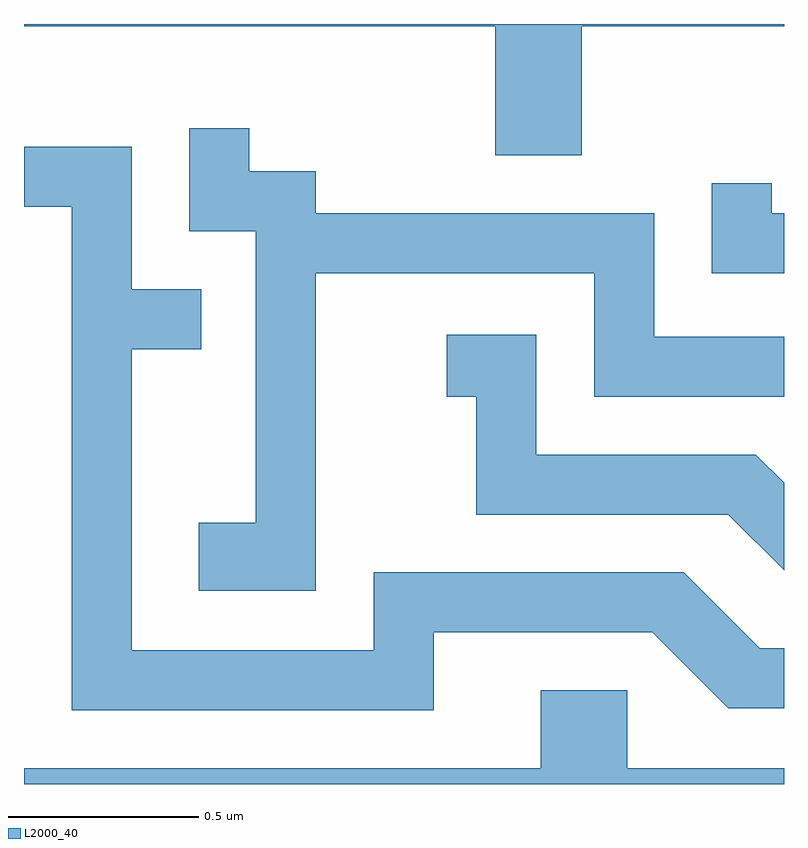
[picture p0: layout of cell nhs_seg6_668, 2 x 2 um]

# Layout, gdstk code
import gdstk
lib = gdstk.Library(unit=1e-6, precision=1e-09)
def P(c, l, *ps):  # polygons
    for p in ps: c.add(gdstk.Polygon(p, *l))
L2000_40 = (2000, 40)

nhs_seg6_668 = lib.new_cell('nhs_seg6_668')
P(nhs_seg6_668, L2000_40, [(191.079,1652.156),(191.611,1652.156),(191.611,1652.162),(189.611,1652.162),(189.611,1652.156),(190.851,1652.156),(190.851,1651.816),(191.079,1651.816)],
  [(190.379,1651.506),(191.111,1651.506),(191.111,1651.181),(191.611,1651.181),(191.611,1651.339),(191.269,1651.339),(191.269,1651.664),(190.379,1651.664),(190.379,1651.774),(190.204,1651.774),(190.204,1651.888),(190.046,1651.888),(190.046,1651.616),(190.221,1651.616),(190.221,1650.849),(190.071,1650.849),(190.071,1650.671),(190.379,1650.671)],
  [(190.689,1650.561),(191.264,1650.561),(191.464,1650.361),(191.611,1650.361),(191.611,1650.519),(191.547,1650.519),(191.347,1650.719),(190.531,1650.719),(190.531,1650.514),(189.894,1650.514),(189.894,1651.306),(190.078,1651.306),(190.078,1651.464),(189.894,1651.464),(189.894,1651.839),(189.611,1651.839),(189.611,1651.681),(189.736,1651.681),(189.736,1650.356),(190.689,1650.356)],
  [(191.611,1651.664),(191.579,1651.664),(191.579,1651.743),(191.421,1651.743),(191.421,1651.506),(191.611,1651.506)],
  [(191.611,1650.955),(191.537,1651.029),(190.959,1651.029),(190.959,1651.344),(190.723,1651.344),(190.723,1651.181),(190.801,1651.181),(190.801,1650.871),(191.464,1650.871),(191.611,1650.724)],
  [(191.611,1650.204),(191.199,1650.204),(191.199,1650.409),(190.971,1650.409),(190.971,1650.204),(189.611,1650.204),(189.611,1650.162),(191.611,1650.162)])

lib.write_gds('nhs_seg6_668.gds')
